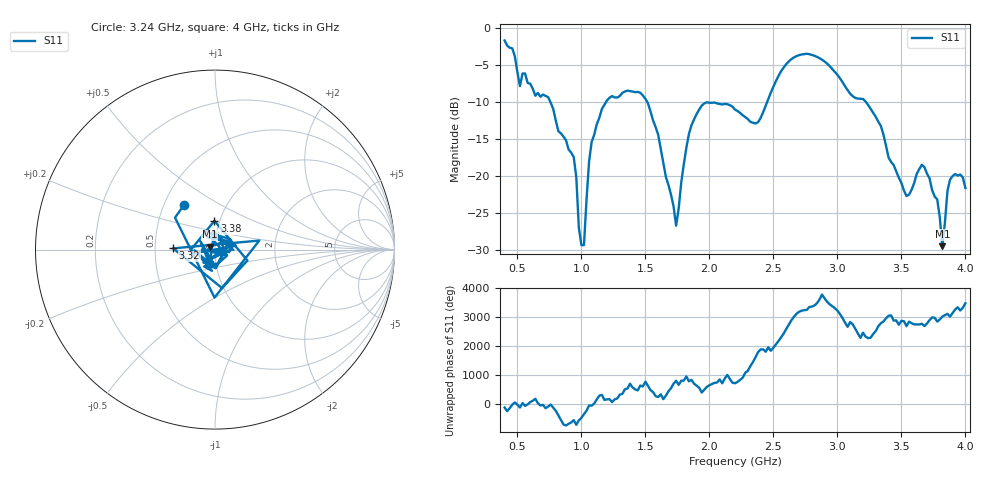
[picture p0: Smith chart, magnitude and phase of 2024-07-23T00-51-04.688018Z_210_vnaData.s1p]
!Created with skrf (http://scikit-rf.org).
# Hz S RI R 50.0
!freq ReS11 ImS11
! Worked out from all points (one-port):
!   181 points, 400 MHz to 4 GHz, reference 50 ohm
!   lowest |S11| = -29.5 dB at 3.82 GHz (marker M1), VSWR 1.07, Z = 47.1 + j1.56 ohm
!   |S11| at or under -10 dB: 1.515 GHz to 1.979 GHz (464 MHz wide, 26.6 % of centre); 1.981 GHz to 2.45 GHz (468.9 MHz wide, 21.2 % of centre); 3.224 GHz to end of sweep (the widest 3 of 4)
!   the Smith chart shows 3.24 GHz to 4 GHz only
!   S11 on the Smith chart (normalised r, x): 3.24 GHz: 0.63, +0.35; 3.32 GHz: 0.62, +0.01; 3.38 GHz: 0.94, +0.31; 4 GHz: 0.93, -0.15
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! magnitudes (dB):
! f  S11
! 400 MHz  -1.6
! 520 MHz  -7.8
! 740 MHz  -9.3
! 860 MHz  -14.6
! 940 MHz  -17.4
! 980 MHz  -27.0
! 1.02 GHz  -29.3
! 1.08 GHz  -15.4
! 1.2 GHz  -9.7
! 1.3 GHz  -9.1
! 1.52 GHz  -10.1
! 1.74 GHz  -26.7
! 1.76 GHz  -24.4
! 1.84 GHz  -14.3
! 1.92 GHz  -11.0
! 2.2 GHz  -11.0
! 2.38 GHz  -12.7
! 2.66 GHz  -3.9
! 3.1 GHz  -8.8
! 3.24 GHz  -10.4
! 3.32 GHz  -12.6
! 3.38 GHz  -15.9
! 3.56 GHz  -22.5
! 3.68 GHz  -18.8
! 3.78 GHz  -23.1
! 3.82 GHz  -29.5
! 3.88 GHz  -20.5
! 4 GHz  -21.6
